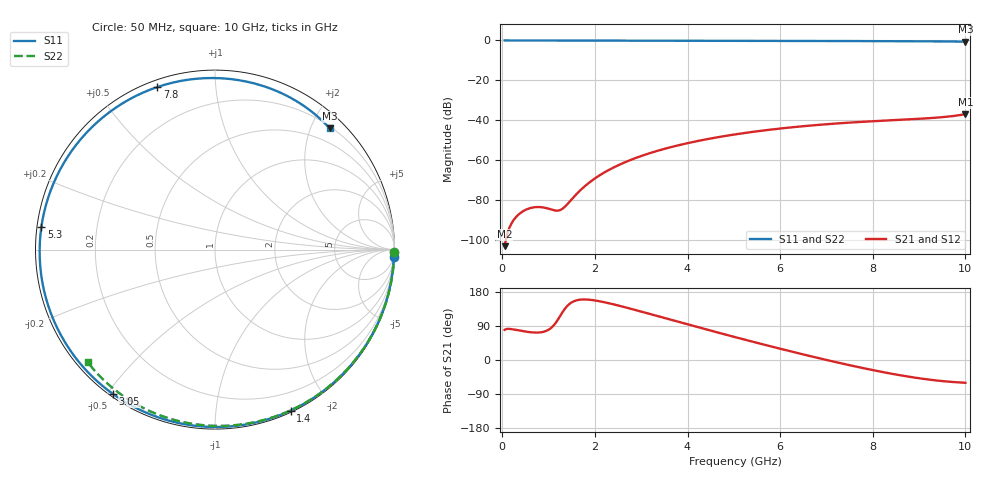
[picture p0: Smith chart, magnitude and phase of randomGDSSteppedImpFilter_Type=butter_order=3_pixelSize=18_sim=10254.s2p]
! freq	dB(S11)	phase(S11)	dB(S12)	phase(S12)
!  dB(S21)	phase(S21)	dB(S22)	phase(S22)
!S-par simulation data
#  GHz  S  DB  R 50
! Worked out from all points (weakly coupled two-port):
!   200 points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, 50 MHz to 10 GHz, reference 50 ohm
!   highest |S21| = -36.98 dB at 10 GHz (marker M1); lowest = -103.2 dB at 50 MHz (marker M2)
!   lowest |S11| = -0.6 dB at 10 GHz (marker M3), VSWR 27.19, Z = 11.7 + j115 ohm
!   |S11| at or under -10 dB: nowhere
!   |S22| runs from -0.5 to 0.0 dB; largest |S21 - S12| = 0
!   S11 on the Smith chart (normalised r, x): 50 MHz: 3, -47; 1.4 GHz: 0.02, -1.58; 3.05 GHz: 0.01, -0.52; 5.3 GHz: 0.01, +0.06; 7.8 GHz: 0.03, +0.71; 10 GHz: 0.23, +2.30
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0.05  -0.03 -2.4  -103.18 79.5  -103.18 79.5  -0.00 -0.8
0.35  -0.03 -16.9  -87.33 78.3  -87.33 78.3  -0.01 -5.6
0.65  -0.04 -31.2  -83.83 72.8  -83.83 72.8  -0.01 -10.4
1.05  -0.06 -49.6  -84.76 84.2  -84.76 84.2  -0.02 -16.7
1.4  -0.08 -64.8  -82.25 142.3  -82.25 142.3  -0.03 -22.2
1.5  -0.08 -69.0  -79.64 152.2  -79.64 152.2  -0.03 -23.7
1.75  -0.09 -79.2  -73.76 159.7  -73.76 159.7  -0.04 -27.6
2  -0.10 -88.9  -69.21 157.2  -69.21 157.2  -0.04 -31.5
2.3  -0.11 -100.0  -64.97 149.9  -64.97 149.9  -0.05 -36.1
3.05  -0.13 -125.2  -57.57 126.1  -57.57 126.1  -0.06 -47.4
3.4  -0.14 -136.0  -55.04 114.3  -55.04 114.3  -0.07 -52.5
4.2  -0.17 -158.7  -50.53 87.4  -50.53 87.4  -0.09 -64.1
5.05  -0.20 179.0  -47.05 59.6  -47.05 59.6  -0.12 -75.9
5.3  -0.21 172.6  -46.20 51.6  -46.20 51.6  -0.13 -79.4
6  -0.25 155.1  -44.19 29.8  -44.19 29.8  -0.15 -88.7
6.7  -0.28 137.7  -42.60 8.8  -42.60 8.8  -0.19 -97.8
7.25  -0.31 123.7  -41.61 -6.9  -41.61 -6.9  -0.22 -104.8
7.8  -0.35 109.5  -40.79 -21.6  -40.79 -21.6  -0.26 -111.7
8.35  -0.38 94.8  -40.10 -35.0  -40.10 -35.0  -0.30 -118.5
9.2  -0.46 71.0  -39.03 -51.5  -39.03 -51.5  -0.38 -128.8
9.6  -0.52 59.2  -38.27 -56.8  -38.27 -56.8  -0.43 -133.6
10  -0.64 46.6  -36.98 -60.1  -36.98 -60.1  -0.47 -138.4
